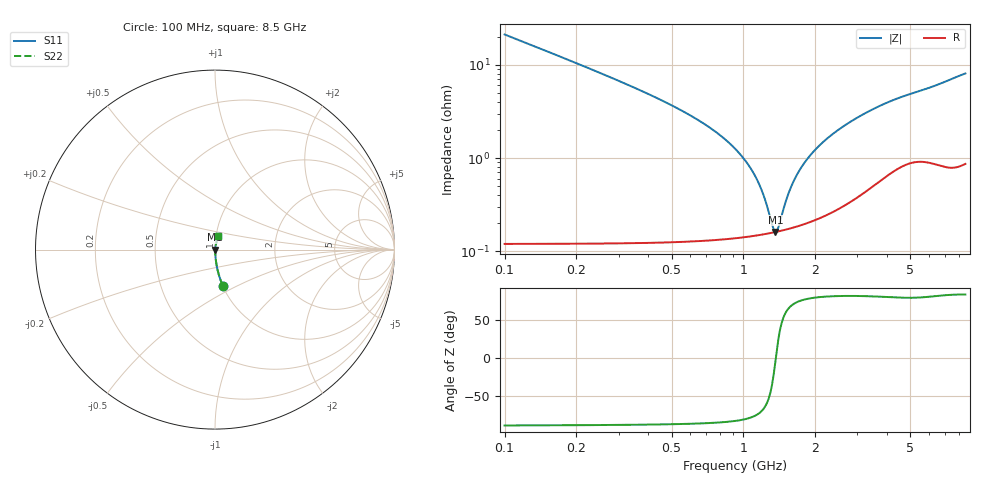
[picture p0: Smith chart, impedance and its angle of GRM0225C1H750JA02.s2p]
!Murata Part Number: GRM0225C1H750JA02
!These Parameters are Measured in Series Mode Connection
!Data Generated on Mar 30, 2021
!  o--ll--o
!Port1  Port2
!  o------o
!Operation Temp=25[degC], DC Bias Voltage=0[V]
!Freq. Start=100[MHz] Stop=9[GHz] 401[Steps]
# Hz S RI R 50
!Freq.(Hz) S11(Real) S11(Imag) S21(Real) S21(Imag) S12(Real) S12(Imag) S22(Real) S22(Imag)
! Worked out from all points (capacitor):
!   401 points, 100 MHz to 8.5 GHz, reference 50 ohm
!   read as one part in series: C = 75 pF near 142 MHz
!   lowest |Z| = 162 mohm at 1.36 GHz (marker M1)
!   series resonance near 1.367 GHz, so ESL is about 180 pH
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1e8  0.0437 -0.2016  0.9563 0.2016  0.9563 0.2016  0.0437 -0.2016
2.26e8  0.00945 -0.0904  0.9905 0.0904  0.9905 0.0904  0.00945 -0.0904
3.52e8  0.00437 -0.056  0.9956 0.056  0.9956 0.056  0.00437 -0.056
4.99e8  0.0026 -0.0367  0.9974 0.0367  0.9974 0.0367  0.0026 -0.0367
8.98e8  0.00155 -0.0134  0.9985 0.0134  0.9985 0.0134  0.00155 -0.0134
1.066e9  0.0015 -0.00778  0.9985 0.00778  0.9985 0.00778  0.0015 -0.00778
1.171e9  0.00152 -0.00481  0.9985 0.00481  0.9985 0.00481  0.00152 -0.00481
1.318e9  0.00158 -0.00113  0.9984 0.00113  0.9984 0.00113  0.00158 -0.00113
1.36e9  0.00161 -0.000159  0.9984 0.000159  0.9984 0.000159  0.00161 -0.000159
1.402e9  0.00163 0.000784  0.9984 -0.000784  0.9984 -0.000784  0.00163 0.000784
1.507e9  0.00172 0.00303  0.9983 -0.00303  0.9983 -0.00303  0.00172 0.00303
1.591e9  0.00179 0.00472  0.9982 -0.00472  0.9982 -0.00472  0.00179 0.00472
1.696e9  0.00191 0.00673  0.9981 -0.00673  0.9981 -0.00673  0.00191 0.00673
1.822e9  0.00206 0.00902  0.9979 -0.00902  0.9979 -0.00902  0.00206 0.00902
1.969e9  0.00226 0.0115  0.9977 -0.0115  0.9977 -0.0115  0.00226 0.0115
2.368e9  0.00295 0.0178  0.9971 -0.0178  0.9971 -0.0178  0.00295 0.0178
2.914e9  0.00424 0.0255  0.9958 -0.0255  0.9958 -0.0255  0.00424 0.0255
3.544e9  0.00622 0.0333  0.9938 -0.0333  0.9938 -0.0333  0.00622 0.0333
4.3e9  0.00896 0.0411  0.991 -0.0411  0.991 -0.0411  0.00896 0.0411
5.707e9  0.0118 0.0524  0.9882 -0.0524  0.9882 -0.0524  0.0118 0.0524
7.114e9  0.0122 0.0652  0.9878 -0.0652  0.9878 -0.0652  0.0122 0.0652
8.5e9  0.0148 0.0783  0.9852 -0.0783  0.9852 -0.0783  0.0148 0.0783
